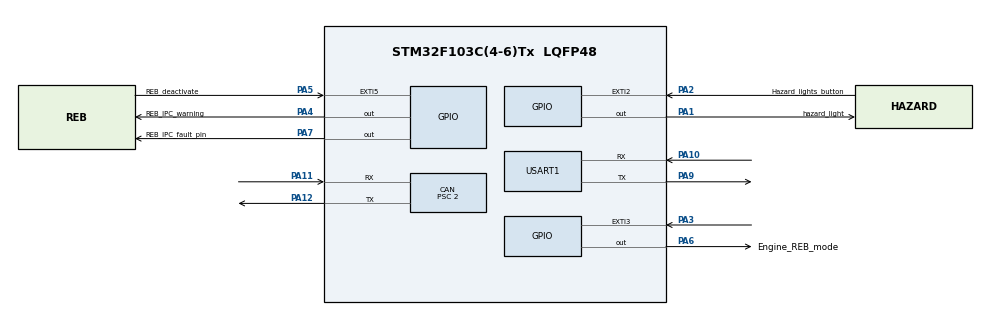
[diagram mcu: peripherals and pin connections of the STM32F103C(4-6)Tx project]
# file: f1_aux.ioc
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CAN.BS1=CAN_BS1_10TQ
CAN.BS2=CAN_BS2_5TQ
CAN.CalculateBaudRate=250000
CAN.CalculateTimeBit=4000
CAN.CalculateTimeQuantum=250.0
CAN.Mode=CAN_MODE_NORMAL
CAN.Prescaler=2
FREERTOS.INCLUDE_uxTaskGetStackHighWaterMark=1
FREERTOS.INCLUDE_uxTaskGetStackHighWaterMark2=1
FREERTOS.Tasks01=defaultTask,0,256,StartDefaultTask,Default,NULL,Dynamic,NULL,NULL;tcu_handler,0,256,StartTaskTCU,Default,NULL,Dynamic,NULL,NULL;conn_handler,0,512,StartTaskconn,Default,NULL,Dynamic,NULL,NULL
FREERTOS.configTOTAL_HEAP_SIZE=6046
FREERTOS.configUSE_MUTEXES=0
Mcu.Family=STM32F1
Mcu.Name=STM32F103C(4-6)Tx
Mcu.Package=LQFP48
NVIC.CAN1_RX1_IRQn=true\:5\:0\:false\:false\:true\:true\:true\:true\:true
NVIC.EXTI2_IRQn=true\:5\:0\:false\:false\:true\:true\:true\:true\:true
NVIC.EXTI3_IRQn=true\:5\:0\:false\:false\:true\:true\:true\:true\:true
NVIC.EXTI9_5_IRQn=true\:5\:0\:false\:false\:true\:true\:true\:true\:true
NVIC.PriorityGroup=NVIC_PRIORITYGROUP_4
PA1.GPIO_Label=hazard_light
PA1.Signal=GPIO_Output
PA10.Mode=Asynchronous
PA10.Signal=USART1_RX
PA11.Mode=CAN_Activate
PA11.Signal=CAN_RX
PA12.Mode=CAN_Activate
PA12.Signal=CAN_TX
PA2.GPIO_Label=Hazard_lights_button
PA2.GPIO_ModeDefaultEXTI=GPIO_MODE_IT_FALLING
PA2.GPIO_PuPd=GPIO_PULLDOWN
PA2.Signal=GPXTI2
PA3.GPIO_ModeDefaultEXTI=GPIO_MODE_IT_FALLING
PA3.GPIO_PuPd=GPIO_PULLDOWN
PA3.Signal=GPXTI3
PA4.GPIO_Label=REB_IPC_warning
PA4.Signal=GPIO_Output
PA5.GPIO_Label=REB_deactivate
PA5.GPIO_ModeDefaultEXTI=GPIO_MODE_IT_FALLING
PA5.GPIO_PuPd=GPIO_PULLDOWN
PA5.Signal=GPXTI5
PA6.GPIO_Label=Engine_REB_mode
PA6.Signal=GPIO_Output
PA7.GPIO_Label=REB_IPC_fault_pin
PA7.Signal=GPIO_Output
PA9.Mode=Asynchronous
PA9.Signal=USART1_TX
ProjectManager.HeapSize=0x200
ProjectManager.StackSize=0x400
ProjectManager.TargetToolchain=STM32CubeIDE
RCC.APB1Freq_Value=8000000
RCC.APB2Freq_Value=8000000
USART1.VirtualMode=VM_ASYNC
VP_FREERTOS_VS_CMSIS_V1.Mode=CMSIS_V1
VP_SYS_VS_ND.Mode=No_Debug
board=custom

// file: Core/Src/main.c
/* USER CODE BEGIN Header */
/**
 ******************************************************************************
 * @file           : main.c
 * @brief          : Main program body
 ******************************************************************************
 * @attention
 *
 * Copyright (c) 2025 STMicroelectronics.
 * All rights reserved.
 *
 * This software is licensed under terms that can be found in the LICENSE file
 * in the root directory of this software component.
 * If no LICENSE file comes with this software, it is provided AS-IS.
 *
 ******************************************************************************
 */
/* USER CODE END Header */
#include "main.h"
#include "cmsis_os.h"

/* USER CODE BEGIN Includes */

#include "pins.h"
#include "app.h"

/* USER CODE END Includes */

CAN_HandleTypeDef hcan;

UART_HandleTypeDef huart1;

osThreadId defaultTaskHandle;
osThreadId tcu_handlerHandle;
osThreadId conn_handlerHandle;
/* USER CODE BEGIN PV */
char msg[200];

CAN_RxHeaderTypeDef rxHeader;
uint8_t rxData[8];  // dados CAN (até 8 bytes)

/* USER CODE END PV */

void SystemClock_Config(void);
static void MX_GPIO_Init(void);
static void MX_CAN_Init(void);
static void MX_USART1_UART_Init(void);
void StartDefaultTask(void const * argument);
void StartTaskTCU(void const * argument);
void StartTaskconn(void const * argument);

int main(void)
{

  /* MCU Configuration--------------------------------------------------------*/

  /* Reset of all peripherals, Initializes the Flash interface and the Systick. */
  HAL_Init();

  /* Configure the system clock */
  SystemClock_Config();

  /* Initialize all configured peripherals */
  MX_GPIO_Init();
  MX_CAN_Init();
  MX_USART1_UART_Init();
  /* USER CODE BEGIN 2 */

	sprintf(msg, "Iniciando\r\n");
	HAL_UART_Transmit(&huart1, &msg, strlen(msg), HAL_MAX_DELAY);

	if (HAL_CAN_ActivateNotification(&hcan,
			CAN_IT_TX_MAILBOX_EMPTY | CAN_IT_RX_FIFO1_MSG_PENDING
					| CAN_IT_RX_FIFO1_FULL | CAN_IT_BUSOFF) != HAL_OK) {
		Error_Handler();
	}

	sprintf(msg, "CAN_START\r\n");
	HAL_UART_Transmit(&huart1, &msg, strlen(msg), HAL_MAX_DELAY);
	HAL_CAN_Start(&hcan);

	sprintf(msg, "FIM CAN_START\r\n");
	HAL_UART_Transmit(&huart1, &msg, strlen(msg), HAL_MAX_DELAY);

  /* USER CODE END 2 */

  /* Create the thread(s) */
  /* definition and creation of defaultTask */
  osThreadDef(defaultTask, StartDefaultTask, osPriorityNormal, 0, 256);
  defaultTaskHandle = osThreadCreate(osThread(defaultTask), NULL);

  /* definition and creation of tcu_handler */
  osThreadDef(tcu_handler, StartTaskTCU, osPriorityNormal, 0, 256);
  tcu_handlerHandle = osThreadCreate(osThread(tcu_handler), NULL);

  /* definition and creation of conn_handler */
  osThreadDef(conn_handler, StartTaskconn, osPriorityNormal, 0, 512);
  conn_handlerHandle = osThreadCreate(osThread(conn_handler), NULL);

  /* USER CODE BEGIN RTOS_THREADS */
	/* add threads, ... */
	if (tcu_handlerHandle == NULL) {
		sprintf(msg, "ERROR tcu_handlerHandle\r\n");
		HAL_UART_Transmit(&huart1, &msg, strlen(msg), HAL_MAX_DELAY);
	}

	if (conn_handlerHandle == NULL) {
		sprintf(msg, "ERROR conn_handlerHandle\r\n");
		HAL_UART_Transmit(&huart1, &msg, strlen(msg), HAL_MAX_DELAY);
	}
  /* USER CODE END RTOS_THREADS */

  /* Start scheduler */
  osKernelStart();

  /* We should never get here as control is now taken by the scheduler */

  /* Infinite loop */
	while (1) {

	}
}

void SystemClock_Config(void)
{
  RCC_OscInitTypeDef RCC_OscInitStruct = {0};
  RCC_ClkInitTypeDef RCC_ClkInitStruct = {0};

  /** Initializes the RCC Oscillators according to the specified parameters
  * in the RCC_OscInitTypeDef structure.
  */
  RCC_OscInitStruct.OscillatorType = RCC_OSCILLATORTYPE_HSI;
  RCC_OscInitStruct.HSIState = RCC_HSI_ON;
  RCC_OscInitStruct.HSICalibrationValue = RCC_HSICALIBRATION_DEFAULT;
  RCC_OscInitStruct.PLL.PLLState = RCC_PLL_NONE;
  if (HAL_RCC_OscConfig(&RCC_OscInitStruct) != HAL_OK)
  {
    Error_Handler();
  }

  /** Initializes the CPU, AHB and APB buses clocks
  */
  RCC_ClkInitStruct.ClockType = RCC_CLOCKTYPE_HCLK|RCC_CLOCKTYPE_SYSCLK
                              |RCC_CLOCKTYPE_PCLK1|RCC_CLOCKTYPE_PCLK2;
  RCC_ClkInitStruct.SYSCLKSource = RCC_SYSCLKSOURCE_HSI;
  RCC_ClkInitStruct.AHBCLKDivider = RCC_SYSCLK_DIV1;
  RCC_ClkInitStruct.APB1CLKDivider = RCC_HCLK_DIV1;
  RCC_ClkInitStruct.APB2CLKDivider = RCC_HCLK_DIV1;

  if (HAL_RCC_ClockConfig(&RCC_ClkInitStruct, FLASH_LATENCY_0) != HAL_OK)
  {
    Error_Handler();
  }
}

static void MX_CAN_Init(void)
{

  hcan.Instance = CAN1;
  hcan.Init.Prescaler = 2;
  hcan.Init.Mode = CAN_MODE_NORMAL;
  hcan.Init.SyncJumpWidth = CAN_SJW_1TQ;
  hcan.Init.TimeSeg1 = CAN_BS1_10TQ;
  hcan.Init.TimeSeg2 = CAN_BS2_5TQ;
  hcan.Init.TimeTriggeredMode = DISABLE;
  hcan.Init.AutoBusOff = DISABLE;
  hcan.Init.AutoWakeUp = DISABLE;
  hcan.Init.AutoRetransmission = DISABLE;
  hcan.Init.ReceiveFifoLocked = DISABLE;
  hcan.Init.TransmitFifoPriority = DISABLE;
  if (HAL_CAN_Init(&hcan) != HAL_OK)
  {
    Error_Handler();
  }
  /* USER CODE BEGIN CAN_Init 2 */

	CAN_FilterTypeDef CAN_FilterInitStructure;

	// Configure the filter
	CAN_FilterInitStructure.FilterBank = 0;  // Use filter bank 0
	CAN_FilterInitStructure.FilterMode = CAN_FILTERMODE_IDMASK;
	CAN_FilterInitStructure.FilterScale = CAN_FILTERSCALE_32BIT;
	CAN_FilterInitStructure.FilterIdHigh = 0x0000;  // ID high bits
	CAN_FilterInitStructure.FilterIdLow = 0x0000;   // ID low bits
	CAN_FilterInitStructure.FilterMaskIdHigh = 0x0000;  // Mask highS bits
	CAN_FilterInitStructure.FilterMaskIdLow = 0x0000;   // Mask low bits
	CAN_FilterInitStructure.FilterFIFOAssignment = CAN_FILTER_FIFO1; // Assign to FIFO 1
	CAN_FilterInitStructure.FilterActivation = ENABLE;  // Enable filter
	CAN_FilterInitStructure.SlaveStartFilterBank = 14;
	HAL_CAN_ConfigFilter(&hcan, &CAN_FilterInitStructure);
	if (HAL_CAN_ConfigFilter(&hcan, &CAN_FilterInitStructure) != HAL_OK) {
		sprintf(msg, "HAL_CAN_ConfigFilter ERROR\r\n");
		HAL_UART_Transmit(&huart1, &msg, strlen(msg), HAL_MAX_DELAY);
		Error_Handler();
	}

  /* USER CODE END CAN_Init 2 */

}

static void MX_USART1_UART_Init(void)
{

  huart1.Instance = USART1;
  huart1.Init.BaudRate = 115200;
  huart1.Init.WordLength = UART_WORDLENGTH_8B;
  huart1.Init.StopBits = UART_STOPBITS_1;
  huart1.Init.Parity = UART_PARITY_NONE;
  huart1.Init.Mode = UART_MODE_TX_RX;
  huart1.Init.HwFlowCtl = UART_HWCONTROL_NONE;
  huart1.Init.OverSampling = UART_OVERSAMPLING_16;
  if (HAL_UART_Init(&huart1) != HAL_OK)
  {
    Error_Handler();
  }

}

static void MX_GPIO_Init(void)
{
  GPIO_InitTypeDef GPIO_InitStruct = {0};

  /* GPIO Ports Clock Enable */
  __HAL_RCC_GPIOA_CLK_ENABLE();

  /*Configure GPIO pin Output Level */
  HAL_GPIO_WritePin(GPIOA, hazard_light_Pin|REB_IPC_warning_Pin|Engine_REB_mode_Pin|REB_IPC_fault_pin_Pin, GPIO_PIN_RESET);

  /*Configure GPIO pins : hazard_light_Pin REB_IPC_warning_Pin Engine_REB_mode_Pin REB_IPC_fault_pin_Pin */
  GPIO_InitStruct.Pin = hazard_light_Pin|REB_IPC_warning_Pin|Engine_REB_mode_Pin|REB_IPC_fault_pin_Pin;
  GPIO_InitStruct.Mode = GPIO_MODE_OUTPUT_PP;
  GPIO_InitStruct.Pull = GPIO_NOPULL;
  GPIO_InitStruct.Speed = GPIO_SPEED_FREQ_LOW;
  HAL_GPIO_Init(GPIOA, &GPIO_InitStruct);

  /*Configure GPIO pins : Hazard_lights_button_Pin PA3 REB_deactivate_Pin */
  GPIO_InitStruct.Pin = Hazard_lights_button_Pin|GPIO_PIN_3|REB_deactivate_Pin;
  GPIO_InitStruct.Mode = GPIO_MODE_IT_FALLING;
  GPIO_InitStruct.Pull = GPIO_PULLDOWN;
  HAL_GPIO_Init(GPIOA, &GPIO_InitStruct);

  /* EXTI interrupt init*/
  HAL_NVIC_SetPriority(EXTI2_IRQn, 5, 0);
  HAL_NVIC_EnableIRQ(EXTI2_IRQn);

  HAL_NVIC_SetPriority(EXTI3_IRQn, 5, 0);
  HAL_NVIC_EnableIRQ(EXTI3_IRQn);

  HAL_NVIC_SetPriority(EXTI9_5_IRQn, 5, 0);
  HAL_NVIC_EnableIRQ(EXTI9_5_IRQn);

}

/* USER CODE BEGIN 4 */
void HAL_CAN_RxFifo1MsgPendingCallback(CAN_HandleTypeDef *hcan) {
	sprintf(msg, "trigger RxFifo \r\n");
	HAL_UART_Transmit(&huart1, msg, strlen(msg), HAL_MAX_DELAY);
	if (HAL_CAN_GetRxMessage(hcan, CAN_RX_FIFO1, &rxHeader, rxData) == HAL_OK) {
		// Exemplo de tratamento: imprime ID e os dados via UART
		int len = sprintf((char*) msg, "CAN ID: 0x%X DLC: %d Data:",
				rxHeader.StdId, rxHeader.DLC);
		for (uint8_t i = 0; i < rxHeader.DLC; i++) {
			len += sprintf((char*) (msg + len), " %02X", rxData[i]);
		}
		sprintf((char*) (msg + len), "\r\n");

		HAL_UART_Transmit(&huart1, msg, strlen((char*) msg), HAL_MAX_DELAY);

		can_frame frame = { 0 };
		frame.can_id = rxHeader.StdId;
		frame.can_dlc = rxHeader.DLC;

		for (int i = 0; i < 8; i++) {
			frame.data[i] = rxData[i];
		}

		handle_frame_can(&frame);

	} else {
		const char *err = "Erro ao ler mensagem CAN\r\n";
		HAL_UART_Transmit(&huart1, err, strlen(err), HAL_MAX_DELAY);
	}

}

void HAL_GPIO_EXTI_Callback(uint16_t GPIO_Pin) {

	sprintf(msg, "GPIO_Pin -> %4X \r\n", GPIO_Pin);
	HAL_UART_Transmit(&huart1, msg, strlen(msg), HAL_MAX_DELAY);

	if (GPIO_Pin == GPIO_PIN_2) {
		uint8_t value = 1U;
		read_pin_status(&value, HAZARD_BUTTON_PIN);
		value = !value;

		sprintf(msg, "tentativa de setar pino GPIO_PIN_2 -: %d \r\n", value);
		HAL_UART_Transmit(&huart1, msg, strlen(msg), HAL_MAX_DELAY);

		set_pin_status(value, HAZARD_BUTTON_PIN);
	}
	if (GPIO_Pin == GPIO_PIN_3) {
		uint8_t value = 1U;

		sprintf(msg, "REB_ACTIVATE_PIN de setar pino GPIO_PIN_3 -: %d \r\n", value);
		HAL_UART_Transmit(&huart1, msg, strlen(msg), HAL_MAX_DELAY);

		set_pin_status(value, REB_ACTIVATE_PIN);
	}
	if (GPIO_Pin == GPIO_PIN_5) {
		uint8_t value = 1U;

		sprintf(msg, "REB_DEACTIVATE_PIN de setar pino GPIO_PIN_5 -: %d \r\n", value);
		HAL_UART_Transmit(&huart1, msg, strlen(msg), HAL_MAX_DELAY);

		set_pin_status(value, REB_DEACTIVATE);
	}
}

/* USER CODE END 4 */

void StartDefaultTask(void const * argument)
{
  /* USER CODE BEGIN 5 */
	sprintf(msg, "StartDefaultTask\r\n");
	HAL_UART_Transmit(&huart1, &msg, strlen(msg), HAL_MAX_DELAY);
	UBaseType_t stack_left = uxTaskGetStackHighWaterMark(NULL);
	sprintf(msg, "Task stack left: %u words\r\n", (unsigned int)stack_left);
	HAL_UART_Transmit(&huart1, msg, strlen(msg), HAL_MAX_DELAY);
	/* Infinite loop */
	for (;;) {
		hazard_lights_blink();
		osDelay(0);
	}
  /* USER CODE END 5 */
}

void StartTaskTCU(void const * argument)
{
  /* USER CODE BEGIN StartTaskTCU */
	/* Infinite loop */
	for (;;) {
		sprintf(msg, "binbou TCU TASK \r\n");
		HAL_UART_Transmit(&huart1, msg, strlen(msg), HAL_MAX_DELAY);
		UBaseType_t stack_left = uxTaskGetStackHighWaterMark(NULL);
		sprintf(msg, "Task stack left: %u words\r\n", (unsigned int)stack_left);
		HAL_UART_Transmit(&huart1, msg, strlen(msg), HAL_MAX_DELAY);
		monitor_tcu();
		osDelay(0);
	}
  /* USER CODE END StartTaskTCU */
}

void StartTaskconn(void const * argument)
{
  /* USER CODE BEGIN StartTaskconn */
	/* Infinite loop */
	for (;;) {
		sprintf(msg, "binbou CONN task \r\n");
		HAL_UART_Transmit(&huart1, msg, strlen(msg), HAL_MAX_DELAY);
		UBaseType_t stack_left = uxTaskGetStackHighWaterMark(NULL);
		sprintf(msg, "Task stack left: %u words\r\n", (unsigned int)stack_left);
		HAL_UART_Transmit(&huart1, msg, strlen(msg), HAL_MAX_DELAY);
		check_can_communication();
		osDelay(0);
	}
  /* USER CODE END StartTaskconn */
}

void Error_Handler(void)
{
	__disable_irq();
	while (1) {
	}
}
